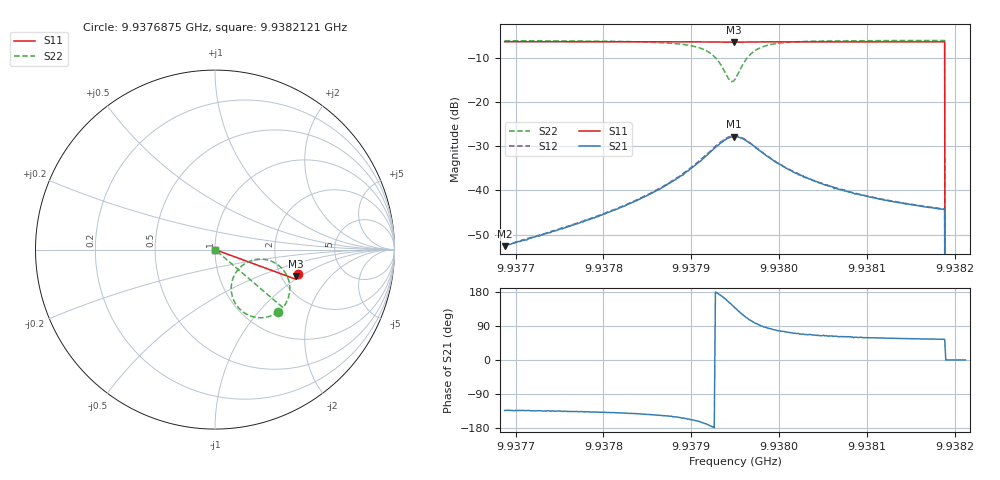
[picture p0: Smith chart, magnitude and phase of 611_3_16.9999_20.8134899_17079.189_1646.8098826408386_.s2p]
#  HZ  S  RI  R  50.00
! Rohde & Schwarz Vector Network Analyzer
! Rohde-Schwarz,ZNB20-2Port,1311601062101988,3.16
! Created: UTC 3/20/2024, 11:19:27 PM
! freq[Hz]  re:S11  im:S11  re:S21  im:S21  re:S12  im:S12  re:S22  im:S22
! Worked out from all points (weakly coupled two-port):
!   401 points, 9.9376875 GHz to 9.9382121 GHz, reference 50 ohm
!   highest |S21| = -27.83 dB at 9.9379484 GHz (marker M1); lowest = -52.6 dB at 9.9376875 GHz (marker M2)
!   lowest |S11| = -6.4 dB at 9.9379484 GHz (marker M3), VSWR 2.82, Z = 120 - j46 ohm
!   |S11| at or under -10 dB: 9.9381885 GHz to end of sweep
!   |S22| runs from - to -6.1 dB; largest |S21 - S12| = 0.002
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9.93768745e9  0.4632 -0.1337  -0.0016 -0.00171  -0.00165 -0.00171  0.3534 -0.3457
9.93777532e9  0.4608 -0.1397  -0.00317 -0.00305  -0.00328 -0.003  0.3347 -0.358
9.93782385e9  0.4594 -0.1432  -0.00512 -0.00426  -0.00529 -0.00425  0.3149 -0.3675
9.9378632e9  0.4581 -0.1459  -0.00846 -0.00577  -0.00876 -0.00576  0.2841 -0.3767
9.93788812e9  0.4568 -0.1478  -0.013 -0.00681  -0.0133 -0.00667  0.2458 -0.3792
9.93791566e9  0.455 -0.1496  -0.0233 -0.0052  -0.0243 -0.00471  0.162 -0.3515
9.93792615e9  0.4539 -0.1497  -0.0298 -0.000607  -0.0306 7.53e-05  0.117 -0.3057
9.93793533e9  0.4528 -0.1495  -0.0344 0.00771  -0.0354 0.00911  0.091 -0.2299
9.9379432e9  0.4523 -0.1487  -0.0346 0.0187  -0.035 0.0203  0.1077 -0.1434
9.93794583e9  0.4523 -0.1485  -0.0334 0.0223  -0.0334 0.0241  0.1251 -0.1156
9.93794845e9  0.4523 -0.1481  -0.0313 0.0258  -0.031 0.0275  0.148 -0.0918
9.93794976e9  0.4526 -0.148  -0.0298 0.0274  -0.0295 0.029  0.1612 -0.0819
9.93795632e9  0.4531 -0.1476  -0.0218 0.0327  -0.0208 0.034  0.2347 -0.0543
9.93796419e9  0.4541 -0.1477  -0.0121 0.0335  -0.0108 0.0344  0.3141 -0.0646
9.9379773e9  0.4552 -0.149  -0.00139 0.0285  -0.000466 0.0288  0.3872 -0.1229
9.93800747e9  0.4554 -0.1521  0.00496 0.0173  0.00541 0.0173  0.417 -0.2206
9.93803763e9  0.4548 -0.1547  0.00531 0.0119  0.00557 0.0119  0.4099 -0.2643
9.93808092e9  0.4537 -0.158  0.00463 0.00848  0.00479 0.00826  0.3978 -0.2939
9.93812551e9  0.4523 -0.1609  0.0041 0.0064  0.00426 0.00639  0.3881 -0.3097
9.93818584e9  0.4507 -0.165  0.00354 0.005  0.00366 0.00498  0.3784 -0.3229
9.9381924e9  0 0  0 0  0 0  0 0
9.93821207e9  0 0  0 0  0 0  0 0
